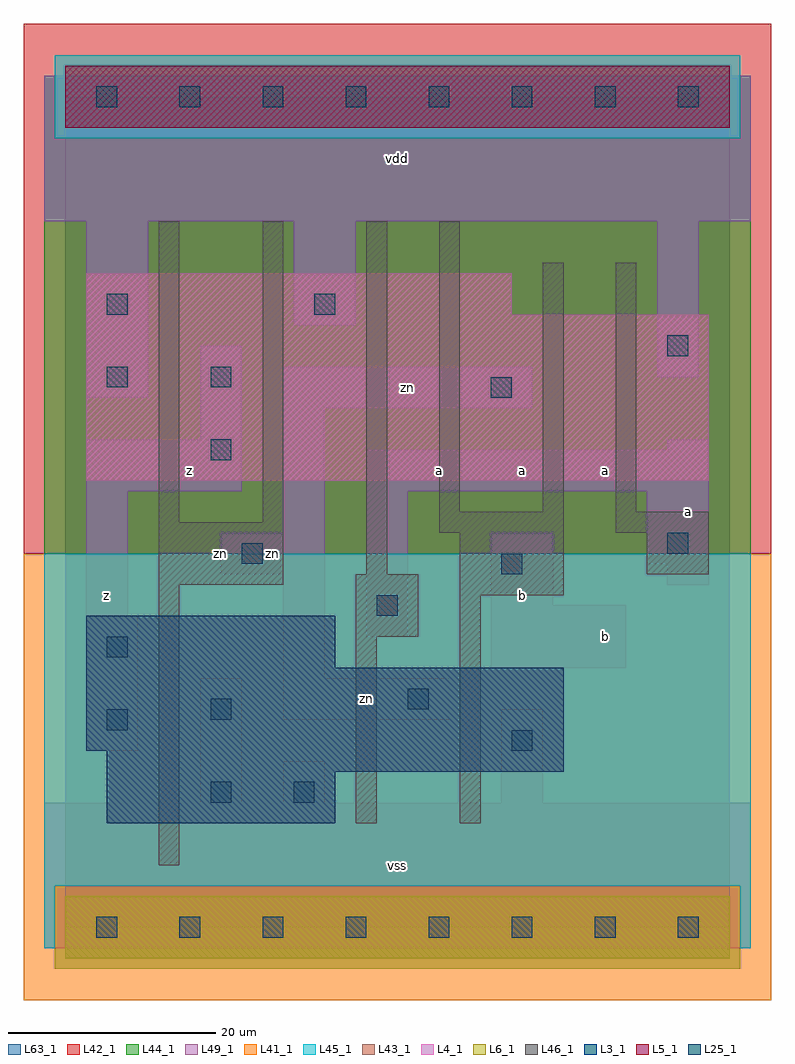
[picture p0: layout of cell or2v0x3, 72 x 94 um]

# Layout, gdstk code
import gdstk
lib = gdstk.Library(unit=1e-6, precision=1e-09)
def R(c, l, rs):  # rectangles x0, y0, x1, y1
    for r in rs: c.add(gdstk.rectangle(r[:2], r[2:], *l))
def A(c, l, x, y, w, h, nx, ny, dx, dy):  # array of equal rectangles
    R(c, l, [(x+i*dx, y+j*dy, x+i*dx+w, y+j*dy+h) for i in range(nx) for j in range(ny)])
L3_1 = (3, 1)
L4_1 = (4, 1)
L5_1 = (5, 1)
L6_1 = (6, 1)
L25_1 = (25, 1)
L41_1 = (41, 1)
L42_1 = (42, 1)
L43_1 = (43, 1)
L44_1 = (44, 1)
L45_1 = (45, 1)
L46_1 = (46, 1)
L49_1 = (49, 1)
L63_1 = (63, 1)

or2v0x3 = lib.new_cell('or2v0x3')
R(or2v0x3, L3_1, [(4,10,26,15), (4,15,48,17), (2,17,48,25), (2,25,26,30)])
R(or2v0x3, L4_1, [(2,43,62,59), (2,59,43,63)])
R(or2v0x3, L5_1, [(0,77,64,83)])
R(or2v0x3, L6_1, [(0,-3,64,3), (0,-3,64,3)])
A(or2v0x3, L25_1, 3, -1, 2, 2, 8, 2, 8, 80)
R(or2v0x3, L25_1, [(14,12,16,14), (22,12,24,14), (43,17,45,19), (4,19,6,21), (14,20,16,22), (33,21,35,23), (4,26,6,28), (30,30,32,32), (42,34,44,36), (17,35,19,37), (58,36,60,38), (14,45,16,47), (41,51,43,53), (4,52,6,54), (14,52,16,54), (58,55,60,57), (4,59,6,61), (24,59,26,61)])
R(or2v0x3, L41_1, [(-4,-7,68,36)])
R(or2v0x3, L42_1, [(-4,36,68,87)])
R(or2v0x3, L43_1, [(0,-3,64,3), (4,10,26,15), (4,15,48,17), (2,17,48,25), (2,25,26,30), (2,43,62,59), (2,59,43,63), (0,77,64,83)])
R(or2v0x3, L44_1, [(-1,-4,65,4), (-2,36,66,76), (-2,76,-1,82), (65,76,66,82)])
R(or2v0x3, L45_1, [(-2,-2,-1,4), (65,-2,66,4), (-2,4,66,36), (-1,76,65,84)])
R(or2v0x3, L46_1, [(9,6,11,33), (28,10,30,28), (38,10,40,32), (28,28,34,34), (38,32,48,38), (9,33,21,39), (29,34,31,68), (56,34,62,38), (36,38,48,40), (53,38,62,40), (9,39,11,68), (19,39,21,68), (36,40,38,68), (46,40,48,64), (53,40,55,64)])
R(or2v0x3, L49_1, [(-2,-2,66,12), (13,12,17,24), (21,12,25,16), (42,12,46,21), (2,17,7,30), (21,20,37,24), (21,24,25,34), (41,25,54,31), (29,28,33,42), (2,30,6,42), (41,31,47,38), (58,33,62,35), (15,34,25,38), (56,35,62,42), (21,38,25,50), (2,42,17,47), (29,42,62,46), (58,46,62,47), (13,47,17,56), (21,50,45,54), (2,51,8,68), (57,53,61,68), (22,58,28,68), (-2,68,66,82)])
R(or2v0x3, L63_1, [(0,0,64,80)])
or2v0x3.add(gdstk.Label('zn', (15,36), layer=46, texttype=1))
or2v0x3.add(gdstk.Label('z', (4,32), layer=49, texttype=1))
or2v0x3.add(gdstk.Label('z', (12,44), layer=49, texttype=1))
or2v0x3.add(gdstk.Label('vss', (32,6), layer=49, texttype=1))
or2v0x3.add(gdstk.Label('zn', (29,22), layer=49, texttype=1))
or2v0x3.add(gdstk.Label('zn', (20,36), layer=49, texttype=1))
or2v0x3.add(gdstk.Label('a', (36,44), layer=49, texttype=1))
or2v0x3.add(gdstk.Label('vdd', (32,74), layer=49, texttype=1))
or2v0x3.add(gdstk.Label('b', (44,32), layer=49, texttype=1))
or2v0x3.add(gdstk.Label('a', (44,44), layer=49, texttype=1))
or2v0x3.add(gdstk.Label('zn', (33,52), layer=49, texttype=1))
or2v0x3.add(gdstk.Label('b', (52,28), layer=49, texttype=1))
or2v0x3.add(gdstk.Label('a', (52,44), layer=49, texttype=1))
or2v0x3.add(gdstk.Label('a', (60,40), layer=49, texttype=1))

lib.write_gds('or2v0x3.gds')
